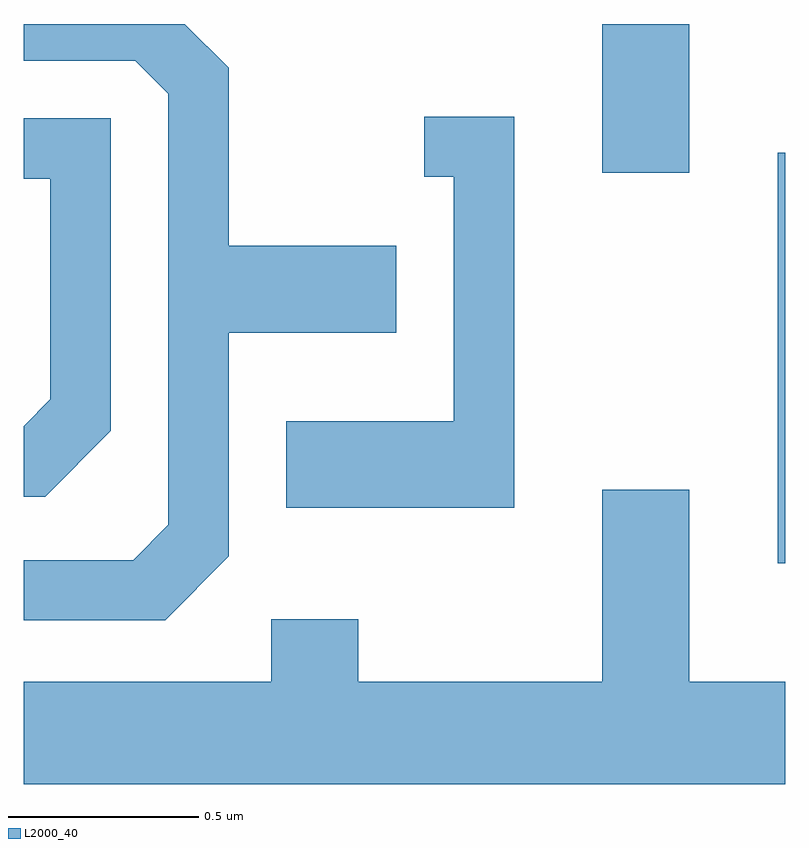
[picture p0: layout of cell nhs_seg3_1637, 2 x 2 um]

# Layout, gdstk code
import gdstk
lib = gdstk.Library(unit=1e-6, precision=1e-09)
def R(c, l, rs):  # rectangles x0, y0, x1, y1
    for r in rs: c.add(gdstk.rectangle(r[:2], r[2:], *l))
def P(c, l, *ps):  # polygons
    for p in ps: c.add(gdstk.Polygon(p, *l))
L2000_40 = (2000, 40)

nhs_seg3_1637 = lib.new_cell('nhs_seg3_1637')
R(nhs_seg3_1637, L2000_40, [(198.591,1246.476,198.611,1247.554), (198.131,1247.501,198.359,1247.892)])
P(nhs_seg3_1637, L2000_40, [(197.149,1246.494),(197.149,1247.081),(197.589,1247.081),(197.589,1247.309),(197.149,1247.309),(197.149,1247.777),(197.034,1247.892),(196.611,1247.892),(196.611,1247.796),(196.904,1247.796),(196.991,1247.709),(196.991,1246.577),(196.899,1246.484),(196.611,1246.484),(196.611,1246.326),(196.982,1246.326)],
  [(197.899,1247.649),(197.663,1247.649),(197.663,1247.491),(197.741,1247.491),(197.741,1246.849),(197.301,1246.849),(197.301,1246.621),(197.899,1246.621)],
  [(196.839,1246.824),(196.839,1247.644),(196.611,1247.644),(196.611,1247.486),(196.681,1247.486),(196.681,1246.907),(196.611,1246.836),(196.611,1246.651),(196.667,1246.651)],
  [(198.611,1246.164),(198.359,1246.164),(198.359,1246.669),(198.131,1246.669),(198.131,1246.164),(197.489,1246.164),(197.489,1246.329),(197.261,1246.329),(197.261,1246.164),(196.611,1246.164),(196.611,1245.896),(198.611,1245.896)])

lib.write_gds('nhs_seg3_1637.gds')
